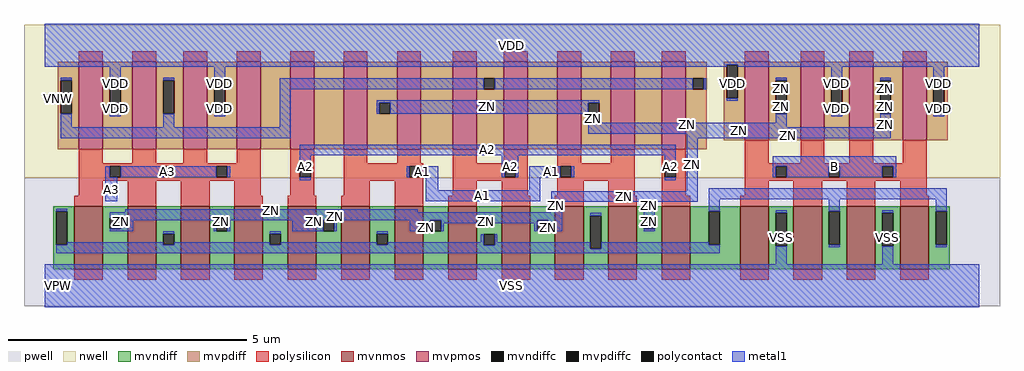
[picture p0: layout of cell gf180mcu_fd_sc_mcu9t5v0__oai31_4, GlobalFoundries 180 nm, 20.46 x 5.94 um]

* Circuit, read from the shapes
.subckt gf180mcu_fd_sc_mcu9t5v0__oai31_4 A1 A2 A3 B ZN VDD VNW VPW VSS
XM1 ZN A3 n1 VPW nfet_06v0 w=1.32u l=0.6u m=4
XM2 ZN A2 n1 VPW nfet_06v0 w=1.32u l=0.6u m=4
XM3 n1 A1 ZN VPW nfet_06v0 w=1.32u l=0.6u m=4
XM4 VSS B n1 VPW nfet_06v0 w=1.32u l=0.6u m=4
XM5 VDD A3 n2 VNW pfet_06v0 w=1.83u l=0.5u m=3
XM6 n3 A3 VDD VNW pfet_06v0 w=1.83u l=0.5u
XM7 n4 A2 n3 VNW pfet_06v0 w=1.83u l=0.5u
XM8 ZN A1 n4 VNW pfet_06v0 w=1.83u l=0.5u
XM9 n5 A1 ZN VNW pfet_06v0 w=1.83u l=0.5u
XM10 n2 A2 n5 VNW pfet_06v0 w=1.83u l=0.5u
XM11 n6 A2 n2 VNW pfet_06v0 w=1.83u l=0.5u
XM12 ZN A1 n6 VNW pfet_06v0 w=1.83u l=0.5u
XM13 n7 A1 ZN VNW pfet_06v0 w=1.83u l=0.5u
XM14 n2 A2 n7 VNW pfet_06v0 w=1.83u l=0.5u
XM15 ZN B VDD VNW pfet_06v0 w=1.645u l=0.5u m=4
.ends

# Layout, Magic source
magic
tech gf180mcuD
magscale 1 10
<< nwell >>
rect -86 453 4006 1094
<< pwell >>
rect -86 -86 4006 453
<< mvnmos >>
rect 124 69 244 333
rect 348 69 468 333
rect 572 69 692 333
rect 796 69 916 333
rect 1020 69 1140 333
rect 1244 69 1364 333
rect 1468 69 1588 333
rect 1692 69 1812 333
rect 1916 69 2036 333
rect 2140 69 2260 333
rect 2364 69 2484 333
rect 2588 69 2708 333
rect 2916 69 3036 333
rect 3140 69 3260 333
rect 3364 69 3484 333
rect 3588 69 3708 333
<< mvpmos >>
rect 144 573 244 939
rect 368 573 468 939
rect 582 573 682 939
rect 806 573 906 939
rect 1030 573 1130 939
rect 1254 573 1354 939
rect 1478 573 1578 939
rect 1712 573 1812 939
rect 1926 573 2026 939
rect 2150 573 2250 939
rect 2374 573 2474 939
rect 2588 573 2688 939
rect 2936 610 3036 939
rect 3170 610 3270 939
rect 3374 610 3474 939
rect 3598 610 3698 939
<< mvndiff >>
rect 36 312 124 333
rect 36 172 49 312
rect 95 172 124 312
rect 36 69 124 172
rect 244 285 348 333
rect 244 239 273 285
rect 319 239 348 285
rect 244 69 348 239
rect 468 218 572 333
rect 468 172 497 218
rect 543 172 572 218
rect 468 69 572 172
rect 692 274 796 333
rect 692 228 721 274
rect 767 228 796 274
rect 692 69 796 228
rect 916 218 1020 333
rect 916 172 945 218
rect 991 172 1020 218
rect 916 69 1020 172
rect 1140 274 1244 333
rect 1140 228 1169 274
rect 1215 228 1244 274
rect 1140 69 1244 228
rect 1364 218 1468 333
rect 1364 172 1393 218
rect 1439 172 1468 218
rect 1364 69 1468 172
rect 1588 274 1692 333
rect 1588 228 1617 274
rect 1663 228 1692 274
rect 1588 69 1692 228
rect 1812 216 1916 333
rect 1812 170 1841 216
rect 1887 170 1916 216
rect 1812 69 1916 170
rect 2036 274 2140 333
rect 2036 228 2065 274
rect 2111 228 2140 274
rect 2036 69 2140 228
rect 2260 294 2364 333
rect 2260 154 2289 294
rect 2335 154 2364 294
rect 2260 69 2364 154
rect 2484 285 2588 333
rect 2484 239 2513 285
rect 2559 239 2588 285
rect 2484 69 2588 239
rect 2708 312 2916 333
rect 2708 172 2785 312
rect 2831 172 2916 312
rect 2708 69 2916 172
rect 3036 305 3140 333
rect 3036 165 3065 305
rect 3111 165 3140 305
rect 3036 69 3140 165
rect 3260 312 3364 333
rect 3260 172 3289 312
rect 3335 172 3364 312
rect 3260 69 3364 172
rect 3484 305 3588 333
rect 3484 165 3513 305
rect 3559 165 3588 305
rect 3484 69 3588 165
rect 3708 312 3796 333
rect 3708 172 3737 312
rect 3783 172 3796 312
rect 3708 69 3796 172
<< mvpdiff >>
rect 56 861 144 939
rect 56 721 69 861
rect 115 721 144 861
rect 56 573 144 721
rect 244 861 368 939
rect 244 721 273 861
rect 319 721 368 861
rect 244 573 368 721
rect 468 861 582 939
rect 468 721 497 861
rect 543 721 582 861
rect 468 573 582 721
rect 682 861 806 939
rect 682 721 711 861
rect 757 721 806 861
rect 682 573 806 721
rect 906 573 1030 939
rect 1130 573 1254 939
rect 1354 767 1478 939
rect 1354 721 1403 767
rect 1449 721 1478 767
rect 1354 573 1478 721
rect 1578 573 1712 939
rect 1812 870 1926 939
rect 1812 824 1841 870
rect 1887 824 1926 870
rect 1812 573 1926 824
rect 2026 573 2150 939
rect 2250 767 2374 939
rect 2250 721 2279 767
rect 2325 721 2374 767
rect 2250 573 2374 721
rect 2474 573 2588 939
rect 2688 870 2776 939
rect 2688 824 2717 870
rect 2763 824 2776 870
rect 2688 573 2776 824
rect 2848 926 2936 939
rect 2848 786 2861 926
rect 2907 786 2936 926
rect 2848 610 2936 786
rect 3036 861 3170 939
rect 3036 721 3065 861
rect 3111 721 3170 861
rect 3036 610 3170 721
rect 3270 861 3374 939
rect 3270 721 3299 861
rect 3345 721 3374 861
rect 3270 610 3374 721
rect 3474 861 3598 939
rect 3474 721 3503 861
rect 3549 721 3598 861
rect 3474 610 3598 721
rect 3698 861 3786 939
rect 3698 721 3727 861
rect 3773 721 3786 861
rect 3698 610 3786 721
<< mvndiffc >>
rect 49 172 95 312
rect 273 239 319 285
rect 497 172 543 218
rect 721 228 767 274
rect 945 172 991 218
rect 1169 228 1215 274
rect 1393 172 1439 218
rect 1617 228 1663 274
rect 1841 170 1887 216
rect 2065 228 2111 274
rect 2289 154 2335 294
rect 2513 239 2559 285
rect 2785 172 2831 312
rect 3065 165 3111 305
rect 3289 172 3335 312
rect 3513 165 3559 305
rect 3737 172 3783 312
<< mvpdiffc >>
rect 69 721 115 861
rect 273 721 319 861
rect 497 721 543 861
rect 711 721 757 861
rect 1403 721 1449 767
rect 1841 824 1887 870
rect 2279 721 2325 767
rect 2717 824 2763 870
rect 2861 786 2907 926
rect 3065 721 3111 861
rect 3299 721 3345 861
rect 3503 721 3549 861
rect 3727 721 3773 861
<< polysilicon >>
rect 144 939 244 983
rect 368 939 468 983
rect 582 939 682 983
rect 806 939 906 983
rect 1030 939 1130 983
rect 1254 939 1354 983
rect 1478 939 1578 983
rect 1712 939 1812 983
rect 1926 939 2026 983
rect 2150 939 2250 983
rect 2374 939 2474 983
rect 2588 939 2688 983
rect 2936 939 3036 983
rect 3170 939 3270 983
rect 3374 939 3474 983
rect 3598 939 3698 983
rect 144 513 244 573
rect 368 513 468 573
rect 582 513 682 573
rect 806 513 906 573
rect 144 500 906 513
rect 144 454 273 500
rect 319 454 497 500
rect 543 454 721 500
rect 767 454 906 500
rect 144 441 906 454
rect 144 377 244 441
rect 124 333 244 377
rect 348 333 468 441
rect 572 333 692 441
rect 796 377 906 441
rect 1030 500 1130 573
rect 1030 454 1071 500
rect 1117 454 1130 500
rect 1030 377 1130 454
rect 1254 513 1354 573
rect 1478 513 1578 573
rect 1712 513 1812 573
rect 1926 513 2026 573
rect 1254 500 1588 513
rect 1254 454 1529 500
rect 1575 454 1588 500
rect 1254 441 1588 454
rect 1254 377 1364 441
rect 796 333 916 377
rect 1020 333 1140 377
rect 1244 333 1364 377
rect 1468 333 1588 441
rect 1712 500 2026 513
rect 1712 454 1929 500
rect 1975 454 2026 500
rect 1712 441 2026 454
rect 1712 377 1812 441
rect 1692 333 1812 377
rect 1916 377 2026 441
rect 2150 513 2250 573
rect 2374 513 2474 573
rect 2150 500 2474 513
rect 2150 454 2163 500
rect 2209 454 2474 500
rect 2150 441 2474 454
rect 2150 377 2260 441
rect 1916 333 2036 377
rect 2140 333 2260 377
rect 2364 377 2474 441
rect 2588 500 2688 573
rect 2588 454 2601 500
rect 2647 454 2688 500
rect 2588 377 2688 454
rect 2936 513 3036 610
rect 3170 513 3270 610
rect 3374 513 3474 610
rect 3598 513 3698 610
rect 2936 500 3698 513
rect 2936 454 3065 500
rect 3111 454 3289 500
rect 3335 454 3513 500
rect 3559 454 3698 500
rect 2936 441 3698 454
rect 2936 377 3036 441
rect 2364 333 2484 377
rect 2588 333 2708 377
rect 2916 333 3036 377
rect 3140 333 3260 441
rect 3364 333 3484 441
rect 3588 377 3698 441
rect 3588 333 3708 377
rect 124 25 244 69
rect 348 25 468 69
rect 572 25 692 69
rect 796 25 916 69
rect 1020 25 1140 69
rect 1244 25 1364 69
rect 1468 25 1588 69
rect 1692 25 1812 69
rect 1916 25 2036 69
rect 2140 25 2260 69
rect 2364 25 2484 69
rect 2588 25 2708 69
rect 2916 25 3036 69
rect 3140 25 3260 69
rect 3364 25 3484 69
rect 3588 25 3708 69
<< polycontact >>
rect 273 454 319 500
rect 497 454 543 500
rect 721 454 767 500
rect 1071 454 1117 500
rect 1529 454 1575 500
rect 1929 454 1975 500
rect 2163 454 2209 500
rect 2601 454 2647 500
rect 3065 454 3111 500
rect 3289 454 3335 500
rect 3513 454 3559 500
<< metal1 >>
rect 0 926 3920 1098
rect 0 918 2861 926
rect 69 861 115 872
rect 69 664 115 721
rect 273 861 319 918
rect 273 710 319 721
rect 497 861 543 872
rect 497 664 543 721
rect 711 861 757 918
rect 711 710 757 721
rect 987 824 1841 870
rect 1887 824 2717 870
rect 2763 824 2774 870
rect 987 664 1033 824
rect 2907 918 3920 926
rect 1392 767 2325 778
rect 2861 775 2907 786
rect 3065 861 3111 872
rect 1392 721 1403 767
rect 1449 721 2279 767
rect 69 618 1033 664
rect 2279 684 2325 721
rect 3065 684 3111 721
rect 3299 861 3345 918
rect 3299 710 3345 721
rect 3503 861 3549 872
rect 2279 664 3111 684
rect 3503 664 3549 721
rect 3727 861 3773 918
rect 3727 710 3773 721
rect 2279 638 3549 664
rect 2693 618 3549 638
rect 1071 546 2647 592
rect 1071 500 1117 546
rect 1918 500 1986 546
rect 2601 500 2647 546
rect 254 454 273 500
rect 319 454 497 500
rect 543 454 721 500
rect 767 454 778 500
rect 1518 454 1529 500
rect 1575 454 1650 500
rect 1918 454 1929 500
rect 1975 454 1986 500
rect 2032 454 2163 500
rect 2209 454 2220 500
rect 254 354 306 454
rect 1071 443 1117 454
rect 1598 400 1650 454
rect 2032 400 2078 454
rect 2601 443 2647 454
rect 1598 354 2078 400
rect 2693 397 2739 618
rect 3054 500 3570 542
rect 3054 454 3065 500
rect 3111 454 3289 500
rect 3335 454 3513 500
rect 3559 454 3570 500
rect 2124 351 2739 397
rect 2785 362 3783 408
rect 49 312 95 323
rect 339 308 1565 321
rect 2124 308 2170 351
rect 273 285 2170 308
rect 319 275 2170 285
rect 319 239 372 275
rect 273 228 372 239
rect 710 274 778 275
rect 497 218 543 229
rect 710 228 721 274
rect 767 228 778 274
rect 1038 274 1226 275
rect 95 172 497 182
rect 945 218 991 229
rect 1038 228 1169 274
rect 1215 228 1226 274
rect 1532 274 2170 275
rect 543 172 945 182
rect 1393 218 1439 229
rect 1532 228 1617 274
rect 1663 262 2065 274
rect 1663 228 1674 262
rect 2054 228 2065 262
rect 2111 228 2170 274
rect 2289 294 2335 305
rect 991 172 1393 182
rect 1830 182 1841 216
rect 1439 172 1841 182
rect 49 170 1841 172
rect 1887 182 1898 216
rect 1887 170 2289 182
rect 49 154 2289 170
rect 2513 285 2559 351
rect 2513 228 2559 239
rect 2785 312 2831 362
rect 2335 172 2785 182
rect 2335 154 2831 172
rect 49 136 2831 154
rect 3065 305 3111 316
rect 3065 90 3111 165
rect 3289 312 3335 362
rect 3289 161 3335 172
rect 3513 305 3559 316
rect 3513 90 3559 165
rect 3737 312 3783 362
rect 3737 161 3783 172
rect 0 -90 3920 90
<< labels >>
flabel metal1 s 2032 454 2220 500 0 FreeSans 200 0 0 0 A1
port 1 nsew default input
flabel metal1 s 1071 546 2647 592 0 FreeSans 200 0 0 0 A2
port 2 nsew default input
flabel metal1 s 254 454 778 500 0 FreeSans 200 0 0 0 A3
port 3 nsew default input
flabel metal1 s 3054 454 3570 542 0 FreeSans 200 0 0 0 B
port 4 nsew default input
flabel metal1 s 0 918 3920 1098 0 FreeSans 200 0 0 0 VDD
port 6 nsew power bidirectional abutment
flabel metal1 s 3513 90 3559 316 0 FreeSans 200 0 0 0 VSS
port 9 nsew ground bidirectional abutment
flabel metal1 s 3503 778 3549 872 0 FreeSans 200 0 0 0 ZN
port 5 nsew default output
flabel nwell s 10 734 110 834 0 FreeSans 400 0 0 0 VNW
port 7 nsew power bidirectional
flabel pwell s 10 -50 110 50 0 FreeSans 400 0 0 0 VPW
port 8 nsew ground bidirectional
rlabel metal1 s 1518 454 1650 500 1 A1
port 1 nsew default input
rlabel metal1 s 2032 400 2078 454 1 A1
port 1 nsew default input
rlabel metal1 s 1598 400 1650 454 1 A1
port 1 nsew default input
rlabel metal1 s 1598 354 2078 400 1 A1
port 1 nsew default input
rlabel metal1 s 2601 454 2647 546 1 A2
port 2 nsew default input
rlabel metal1 s 1918 454 1986 546 1 A2
port 2 nsew default input
rlabel metal1 s 1071 454 1117 546 1 A2
port 2 nsew default input
rlabel metal1 s 2601 443 2647 454 1 A2
port 2 nsew default input
rlabel metal1 s 1071 443 1117 454 1 A2
port 2 nsew default input
rlabel metal1 s 254 354 306 454 1 A3
port 3 nsew default input
rlabel metal1 s 3065 778 3111 872 1 ZN
port 5 nsew default output
rlabel metal1 s 3503 721 3549 778 1 ZN
port 5 nsew default output
rlabel metal1 s 3065 721 3111 778 1 ZN
port 5 nsew default output
rlabel metal1 s 1392 721 2325 778 1 ZN
port 5 nsew default output
rlabel metal1 s 3503 684 3549 721 1 ZN
port 5 nsew default output
rlabel metal1 s 3065 684 3111 721 1 ZN
port 5 nsew default output
rlabel metal1 s 2279 684 2325 721 1 ZN
port 5 nsew default output
rlabel metal1 s 3503 664 3549 684 1 ZN
port 5 nsew default output
rlabel metal1 s 2279 664 3111 684 1 ZN
port 5 nsew default output
rlabel metal1 s 2279 638 3549 664 1 ZN
port 5 nsew default output
rlabel metal1 s 2693 618 3549 638 1 ZN
port 5 nsew default output
rlabel metal1 s 2693 397 2739 618 1 ZN
port 5 nsew default output
rlabel metal1 s 2124 351 2739 397 1 ZN
port 5 nsew default output
rlabel metal1 s 2513 321 2559 351 1 ZN
port 5 nsew default output
rlabel metal1 s 2124 321 2170 351 1 ZN
port 5 nsew default output
rlabel metal1 s 2513 308 2559 321 1 ZN
port 5 nsew default output
rlabel metal1 s 2124 308 2170 321 1 ZN
port 5 nsew default output
rlabel metal1 s 339 308 1565 321 1 ZN
port 5 nsew default output
rlabel metal1 s 2513 275 2559 308 1 ZN
port 5 nsew default output
rlabel metal1 s 273 275 2170 308 1 ZN
port 5 nsew default output
rlabel metal1 s 2513 262 2559 275 1 ZN
port 5 nsew default output
rlabel metal1 s 1532 262 2170 275 1 ZN
port 5 nsew default output
rlabel metal1 s 1038 262 1226 275 1 ZN
port 5 nsew default output
rlabel metal1 s 710 262 778 275 1 ZN
port 5 nsew default output
rlabel metal1 s 273 262 372 275 1 ZN
port 5 nsew default output
rlabel metal1 s 2513 228 2559 262 1 ZN
port 5 nsew default output
rlabel metal1 s 2054 228 2170 262 1 ZN
port 5 nsew default output
rlabel metal1 s 1532 228 1674 262 1 ZN
port 5 nsew default output
rlabel metal1 s 1038 228 1226 262 1 ZN
port 5 nsew default output
rlabel metal1 s 710 228 778 262 1 ZN
port 5 nsew default output
rlabel metal1 s 273 228 372 262 1 ZN
port 5 nsew default output
rlabel metal1 s 3727 775 3773 918 1 VDD
port 6 nsew power bidirectional abutment
rlabel metal1 s 3299 775 3345 918 1 VDD
port 6 nsew power bidirectional abutment
rlabel metal1 s 2861 775 2907 918 1 VDD
port 6 nsew power bidirectional abutment
rlabel metal1 s 711 775 757 918 1 VDD
port 6 nsew power bidirectional abutment
rlabel metal1 s 273 775 319 918 1 VDD
port 6 nsew power bidirectional abutment
rlabel metal1 s 3727 710 3773 775 1 VDD
port 6 nsew power bidirectional abutment
rlabel metal1 s 3299 710 3345 775 1 VDD
port 6 nsew power bidirectional abutment
rlabel metal1 s 711 710 757 775 1 VDD
port 6 nsew power bidirectional abutment
rlabel metal1 s 273 710 319 775 1 VDD
port 6 nsew power bidirectional abutment
rlabel metal1 s 3065 90 3111 316 1 VSS
port 9 nsew ground bidirectional abutment
rlabel metal1 s 0 -90 3920 90 1 VSS
port 9 nsew ground bidirectional abutment
<< properties >>
string FIXED_BBOX 0 0 3920 1008
string GDS_END 162018
string GDS_FILE $PDKPATH/libs.ref/gf180mcu_fd_sc_mcu9t5v0/gds/gf180mcu_fd_sc_mcu9t5v0.gds
string GDS_START 153970
string LEFclass core
string LEFsite GF018hv5v_green_sc9
string LEFsymmetry X Y
<< end >>
